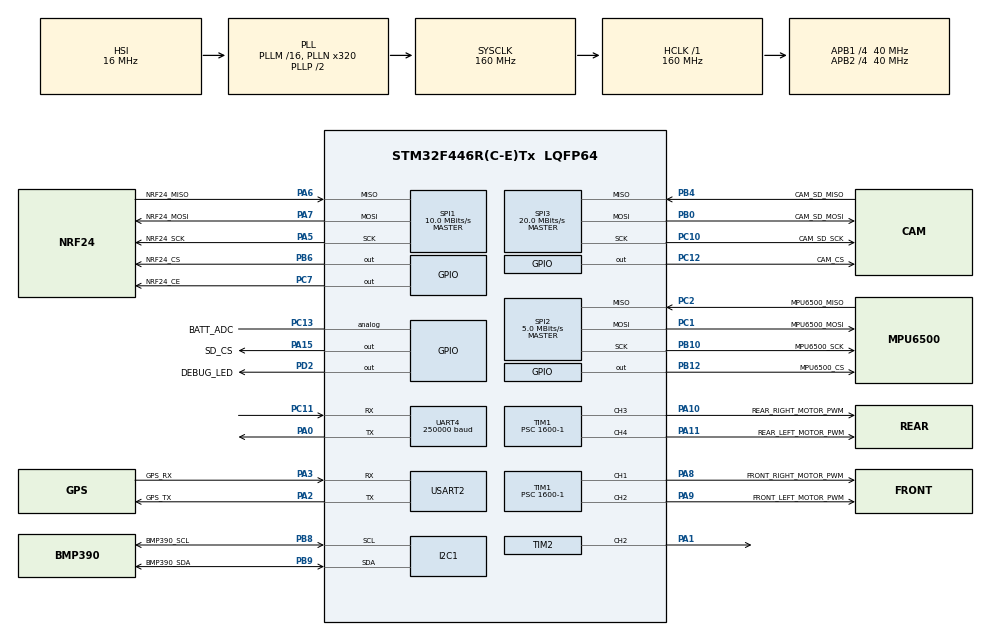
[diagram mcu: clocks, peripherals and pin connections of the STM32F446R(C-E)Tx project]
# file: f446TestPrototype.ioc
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I2C1.I2C_Mode=I2C_Standard
Mcu.Family=STM32F4
Mcu.Name=STM32F446R(C-E)Tx
Mcu.Package=LQFP64
NVIC.PriorityGroup=NVIC_PRIORITYGROUP_4
PA0-WKUP.Mode=Asynchronous
PA0-WKUP.Signal=UART4_TX
PA1.Signal=S_TIM2_CH2
PA10.GPIO_Label=REAR_RIGHT_MOTOR_PWM
PA10.Signal=S_TIM1_CH3
PA11.GPIO_Label=REAR_LEFT_MOTOR_PWM
PA11.Signal=S_TIM1_CH4
PA13.Mode=Serial_Wire
PA13.Signal=SYS_JTMS-SWDIO
PA14.Mode=Serial_Wire
PA14.Signal=SYS_JTCK-SWCLK
PA15.GPIO_Label=SD_CS
PA15.Signal=GPIO_Output
PA2.GPIO_Label=GPS_TX
PA2.Mode=Asynchronous
PA2.Signal=USART2_TX
PA3.GPIO_Label=GPS_RX
PA3.Mode=Asynchronous
PA3.Signal=USART2_RX
PA5.GPIO_Label=NRF24_SCK
PA5.Mode=Full_Duplex_Master
PA5.Signal=SPI1_SCK
PA6.GPIO_Label=NRF24_MISO
PA6.Mode=Full_Duplex_Master
PA6.Signal=SPI1_MISO
PA7.GPIO_Label=NRF24_MOSI
PA7.Mode=Full_Duplex_Master
PA7.Signal=SPI1_MOSI
PA8.GPIO_Label=FRONT_RIGHT_MOTOR_PWM
PA8.Signal=S_TIM1_CH1
PA9.GPIO_Label=FRONT_LEFT_MOTOR_PWM
PA9.Signal=S_TIM1_CH2
PB0.GPIO_Label=CAM_SD_MOSI
PB0.Mode=Full_Duplex_Master
PB0.Signal=SPI3_MOSI
PB10.GPIO_Label=MPU6500_SCK
PB10.Mode=Full_Duplex_Master
PB10.Signal=SPI2_SCK
PB12.GPIO_Label=MPU6500_CS
PB12.Signal=GPIO_Output
PB4.GPIO_Label=CAM_SD_MISO
PB4.Mode=Full_Duplex_Master
PB4.Signal=SPI3_MISO
PB6.GPIO_Label=NRF24_CS
PB6.Signal=GPIO_Output
PB8.GPIO_Label=BMP390_SCL
PB8.Mode=I2C
PB8.Signal=I2C1_SCL
PB9.GPIO_Label=BMP390_SDA
PB9.Mode=I2C
PB9.Signal=I2C1_SDA
PC1.GPIO_Label=MPU6500_MOSI
PC1.Mode=Full_Duplex_Master
PC1.Signal=SPI2_MOSI
PC10.GPIO_Label=CAM_SD_SCK
PC10.Mode=Full_Duplex_Master
PC10.Signal=SPI3_SCK
PC11.Mode=Asynchronous
PC11.Signal=UART4_RX
PC12.GPIO_Label=CAM_CS
PC12.Signal=GPIO_Output
PC13.GPIO_Label=BATT_ADC
PC13.Signal=GPIO_Analog
PC2.GPIO_Label=MPU6500_MISO
PC2.Mode=Full_Duplex_Master
PC2.Signal=SPI2_MISO
PC7.GPIO_Label=NRF24_CE
PC7.Signal=GPIO_Output
PD2.GPIO_Label=DEBUG_LED
PD2.Signal=GPIO_Output
PH0-OSC_IN.Mode=HSE-External-Oscillator
PH0-OSC_IN.Signal=RCC_OSC_IN
PH1-OSC_OUT.Mode=HSE-External-Oscillator
PH1-OSC_OUT.Signal=RCC_OSC_OUT
ProjectManager.HeapSize=0x200
ProjectManager.StackSize=0x400
ProjectManager.TargetToolchain=STM32CubeIDE
RCC.AHBFreq_Value=160000000
RCC.APB1CLKDivider=RCC_HCLK_DIV4
RCC.APB1Freq_Value=40000000
RCC.APB1TimFreq_Value=80000000
RCC.APB2CLKDivider=RCC_HCLK_DIV4
RCC.APB2Freq_Value=40000000
RCC.APB2TimFreq_Value=80000000
RCC.CortexFreq_Value=160000000
RCC.HCLKFreq_Value=160000000
RCC.HSE_VALUE=25000000
RCC.PLLN=320
RCC.SYSCLKFreq_VALUE=160000000
RCC.SYSCLKSource=RCC_SYSCLKSOURCE_PLLCLK
RCC.USBFreq_Value=160000000
RCC.VCOOutputFreq_Value=320000000
SH.S_TIM1_CH1.0=TIM1_CH1,PWM Generation1 CH1
SH.S_TIM1_CH2.0=TIM1_CH2,PWM Generation2 CH2
SH.S_TIM1_CH3.0=TIM1_CH3,PWM Generation3 CH3
SH.S_TIM1_CH4.0=TIM1_CH4,PWM Generation4 CH4
SH.S_TIM2_CH2.0=TIM2_CH2,Output Compare2 CH2
SPI1.BaudRatePrescaler=SPI_BAUDRATEPRESCALER_4
SPI1.CalculateBaudRate=10.0 MBits/s
SPI1.Direction=SPI_DIRECTION_2LINES
SPI1.Mode=SPI_MODE_MASTER
SPI1.VirtualType=VM_MASTER
SPI2.BaudRatePrescaler=SPI_BAUDRATEPRESCALER_8
SPI2.CalculateBaudRate=5.0 MBits/s
SPI2.Direction=SPI_DIRECTION_2LINES
SPI2.Mode=SPI_MODE_MASTER
SPI2.VirtualType=VM_MASTER
SPI3.CalculateBaudRate=20.0 MBits/s
SPI3.Direction=SPI_DIRECTION_2LINES
SPI3.Mode=SPI_MODE_MASTER
SPI3.VirtualType=VM_MASTER
STMicroelectronics.X-CUBE-ALGOBUILD.1.4.0.LibraryCcDSPOoLibraryJjDSPOoLibrary=true
TIM1.Channel-PWM\ Generation1\ CH1=TIM_CHANNEL_1
TIM1.Channel-PWM\ Generation2\ CH2=TIM_CHANNEL_2
TIM1.Channel-PWM\ Generation3\ CH3=TIM_CHANNEL_3
TIM1.Channel-PWM\ Generation4\ CH4=TIM_CHANNEL_4
TIM1.Period=1000-1
TIM1.Prescaler=1600-1
TIM2.AutoReloadPreload=TIM_AUTORELOAD_PRELOAD_ENABLE
TIM2.Channel-Output\ Compare2\ CH2=TIM_CHANNEL_2
TIM2.Prescaler=80-1
UART4.BaudRate=250000
UART4.VirtualMode=Asynchronous
USART2.VirtualMode=VM_ASYNC
VP_STMicroelectronics.X-CUBE-ALGOBUILD_VS_DSPOoLibraryJjLibrary_1.4.0_1.4.0.Mode=DSPOoLibraryJjLibrary
VP_TIM2_VS_ClockSourceINT.Mode=Internal
board=custom

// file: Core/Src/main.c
/* USER CODE BEGIN Header */
/**
  ******************************************************************************
  * @file           : main.c
  * @brief          : Main program body
  ******************************************************************************
  * @attention
  *
  * Copyright (c) 2024 STMicroelectronics.
  * All rights reserved.
  *
  * This software is licensed under terms that can be found in the LICENSE file
  * in the root directory of this software component.
  * If no LICENSE file comes with this software, it is provided AS-IS.
  *
  ******************************************************************************
  */
/* USER CODE END Header */
#include "main.h"

/* USER CODE BEGIN Includes */
#include "motorControl.h"
#include "nRF24l01.h"
#include "mpu6500.h"
#include "flightController.h"
#include "bmp390.h"
#include "movingAvgFilter.h"
#include "filter.h"
#include "simpleKalmanFilter.h"
#include "arm_math.h"
#include "stdbool.h"
/* USER CODE END Includes */

/* USER CODE BEGIN PD */
// TOGGLE TEST/FLIGHT MODE HERE
#define RUN_MODE FLIGHT
#define PRINT_DEBUG false
#define ANGLE_MAX 45
/* USER CODE END PD */

I2C_HandleTypeDef hi2c1;

SPI_HandleTypeDef hspi1;
SPI_HandleTypeDef hspi2;
SPI_HandleTypeDef hspi3;

TIM_HandleTypeDef htim1;
TIM_HandleTypeDef htim2;

UART_HandleTypeDef huart4;
UART_HandleTypeDef huart2;

void SystemClock_Config(void);
static void MX_GPIO_Init(void);
static void MX_TIM1_Init(void);
static void MX_SPI1_Init(void);
static void MX_UART4_Init(void);
static void MX_SPI2_Init(void);
static void MX_I2C1_Init(void);
static void MX_SPI3_Init(void);
static void MX_USART2_UART_Init(void);
static void MX_TIM2_Init(void);
/* USER CODE BEGIN PFP */
static void initializeIWDG();
static void refreshIWDG();
/* USER CODE END PFP */

/* USER CODE BEGIN 0 */
static BMP390 bmp;
static MPU6500 mpu;
static float altOffset;

static char buf[1000]; // buffer for printing chars
/****************/
/* USER CODE END 0 */

int main(void)
{

  /* USER CODE BEGIN 1 */

  /**
   * STUFF TODO:
   * - Move higher level functions like the angle kalman filter to the flight controller file.
   * - Make a flight controller struct? Would update all sensors on the flight controller and store the filtered angles/altitude, etc.
   */

  /* USER CODE END 1 */

  /* MCU Configuration--------------------------------------------------------*/

  /* Reset of all peripherals, Initializes the Flash interface and the Systick. */
  HAL_Init();

  /* Configure the system clock */
  SystemClock_Config();

  /* Initialize all configured peripherals */
  MX_GPIO_Init();
  MX_TIM1_Init();
  MX_SPI1_Init();
  MX_UART4_Init();
  MX_SPI2_Init();
  MX_I2C1_Init();
  MX_SPI3_Init();
  MX_USART2_UART_Init();
  MX_TIM2_Init();
  /* USER CODE BEGIN 2 */

  HAL_TIM_Base_Start(&htim2);

  uint8_t rxAddress[5] = {0xEE, 0xDD, 0xCC, 0xBB, 0xAA};
  uint8_t channelNum = 10;
  uint8_t rxPipe = 1;
  uint8_t rxData[8];

  nRF24Init();
  nRF24RxMode(rxAddress, channelNum);

  float desAngles[2] = {0, 0}; // desired angles
  float desAngleRates[3] = {0, 0, 0}; // for rate controller: desired angle rate (pitch, roll, yaw)
  float ctrlSignals[3] = {0, 0, 0}; // value from 0-20, output from pid controller (represents adjustments in pitch/roll/yaw directions to hit desired value)
  float rcThrottle = 0; // raw joystick value mapped to a desired vertical velocity
  float motorThrottle[4] = {50, 50, 50, 50}; // actual motor output, changed based on pitch, roll, yaw change from controller
  float verticalVelocityMotorAdjustment = 0;
  float vvAccumulator = 0;

  unsigned int errors = 0;

  const uint8_t altSamplesToAverage = 100;

  if (PRINT_DEBUG) {
    sprintf(buf, "Initializing sensors...\r\n");
    HAL_UART_Transmit(&huart4, (uint8_t*)buf, strlen(buf), HAL_MAX_DELAY);
  }

  errors += mpu6500Init(&mpu);
  flightControllerInit();
  initializeMotors();

  if (PRINT_DEBUG) {
    sprintf(buf, "MPU6500 initialized!\r\n");
    HAL_UART_Transmit(&huart4, (uint8_t*)buf, strlen(buf), HAL_MAX_DELAY);
  }

  errors += bmp390Init(&bmp);
  movingAvgFilter altFiltered;
  movingAvgFilterInit(&altFiltered, altSamplesToAverage);

  if (PRINT_DEBUG) {
    sprintf(buf, "BMP390 Initialized!\r\n");
    HAL_UART_Transmit(&huart4, (uint8_t*)buf, strlen(buf), HAL_MAX_DELAY);
  }

  // LPF
  BWLowPass* baroVVLPF = create_bw_low_pass_filter(4, 50, 5);

  // TODO put this stuff into a function
  // Fill altitude buffer before calculating offset
  for (int i = 0; i < altSamplesToAverage; i++) {
    errors += bmp390Update(&bmp);
    movingAvgFilterUpdate(&altFiltered, bmp.alt);
  }

  altOffset = movingAvgFilterUpdate(&altFiltered, bmp.alt);

  // Wait for buffer to fill with normalized data
  for (int i = 0; i < altSamplesToAverage; i++) {
    errors += bmp390Update(&bmp);
    movingAvgFilterUpdate(&altFiltered, bmp.alt - altOffset);
  }

  movingAvgFilter baroVVAvg;
  movingAvgFilterInit(&baroVVAvg, altSamplesToAverage);

  simpleKalmanFilter altitudeFilter;
  kalmanInit(&altitudeFilter, 0.1, 0.1, 0.1);

  uint32_t prevTime = htim2.Instance->CNT;
  float prevBaroAlt = 0;

  if (PRINT_DEBUG) {
    sprintf(buf, "Filters applied, starting loop...\r\n");
    HAL_UART_Transmit(&huart4, (uint8_t*)buf, strlen(buf), HAL_MAX_DELAY);
  }

  // warm up vertical velocity filter
  for (int i = 0; i < altSamplesToAverage; i++) {
    errors += bmp390Update(&bmp);
    errors += mpu6500Update(&mpu);
    kalmanUpdateEstimate(&altitudeFilter, bmp.alt - altOffset);

    prevBaroAlt = altitudeFilter.curEstimate;
  }

  // Start 125ms watchdog timerw
  initializeIWDG();
  /* USER CODE END 2 */

  /* Infinite loop */
  while (1)
  {

    /* USER CODE BEGIN 3 */
    while (errors > 0) {
      sprintf(buf, "ERRORS: %u\r\n", errors);
      HAL_UART_Transmit(&huart4, (uint8_t*)buf, strlen(buf), 100);
      HAL_GPIO_WritePin(DEBUG_LED_GPIO_Port, DEBUG_LED_Pin, 1);
      HAL_Delay(100);
      HAL_GPIO_WritePin(DEBUG_LED_GPIO_Port, DEBUG_LED_Pin, 0);
      HAL_Delay(100);
    }

    // Read sensor values and update structs
    errors += bmp390Update(&bmp);
    errors += mpu6500Update(&mpu);
    kalmanUpdateEstimate(&altitudeFilter, bmp.alt - altOffset);

    uint32_t curTime = htim2.Instance->CNT;
    float timeDiff = (float)(curTime - prevTime) / US_TO_S;
    float baroVerticalVelocity = (altitudeFilter.curEstimate - prevBaroAlt) / timeDiff;

    prevTime = curTime;
    prevBaroAlt = altitudeFilter.curEstimate;

    float lpfBaroVV = bw_low_pass(baroVVLPF, baroVerticalVelocity);

//    sprintf(buf, "averagedBaroVerticalVelocity:%f,accelVerticalVelocity:%f,calibratedVerticalVelocity:%f,baroVerticalVelocity:%f,compFilter:%f,emaFilter:%f,lpfBaroVV:%f\r\n", baroVVFiltered, mpu.verticalVelocity, mpu.verticalVelocity - accelVertVelocityOffset, baroVerticalVelocity, compFilterVal, emaFilterVV, lpfBaroVV);
//    sprintf(buf, "verticalVelocityMotorAdjustment: %d\r\n", verticalVelocityMotorAdjustment);
//    sprintf(buf, "motor1:%d\r\n", motorThrottle[0]);
//    HAL_UART_Transmit(&huart4, (uint8_t*)buf, strlen(buf), HAL_MAX_DELAY);

    switch (RUN_MODE) {
      case TEST: {
        HAL_GPIO_WritePin(DEBUG_LED_GPIO_Port, DEBUG_LED_Pin, 1);
        refreshIWDG();

        nRF24Receive(rxData);
        uint32_t xVal = (rxData[0] << 24 | rxData[1] << 16 | rxData[2] << 8 | rxData[3]);
//        rcThrottle = mapRCRaw(xVal);
        rcThrottle = mapPWM(xVal);

        sprintf(buf, "rcThrottle:%f,xVal:%lu,motors:[%f,%f,%f,%f]\r\n", rcThrottle, xVal, motorThrottle[0], motorThrottle[1], motorThrottle[2], motorThrottle[3]);
        HAL_UART_Transmit(&huart4, (uint8_t*)buf, strlen(buf), HAL_MAX_DELAY);

        angleController(&mpu, desAngles, desAngleRates, ctrlSignals);
        updateVerticalVelocityControl(lpfBaroVV, rcThrottle, &verticalVelocityMotorAdjustment);
        actuateMotors(motorThrottle, ctrlSignals, &vvAccumulator, verticalVelocityMotorAdjustment, rcThrottle);

        break;
      }

      case FLIGHT: {
        // Handle user input from remote controller
        if(isDataAvailable(rxPipe)) {
          HAL_GPIO_WritePin(DEBUG_LED_GPIO_Port, DEBUG_LED_Pin, 1);
          refreshIWDG();

          nRF24Receive(rxData);
          uint32_t xVal = (rxData[0] << 24 | rxData[1] << 16 | rxData[2] << 8 | rxData[3]);
          if (xVal > 4000) {
//            sprintf(buf, "FILTERED GARBAGE VALUE: %lu\r\n", xVal);
//            HAL_UART_Transmit(&huart4, (uint8_t*)buf, strlen(buf), HAL_MAX_DELAY);
            continue; // try to filter out random spikes
          }
//          rcThrottle = mapRCRaw(xVal);
          rcThrottle = mapPWM(xVal);

//          sprintf(buf, "rcThrottle:%f,xVal:%lu,motors:[%f,%f,%f,%f]\r\n", rcThrottle, xVal, motorThrottle[0], motorThrottle[1], motorThrottle[2], motorThrottle[3]);
//          sprintf(buf, "pitch:%f,roll:%f\r\n", mpu.pitch, mpu.roll);
//          HAL_UART_Transmit(&huart4, (uint8_t*)buf, strlen(buf), HAL_MAX_DELAY);

          angleController(&mpu, desAngles, desAngleRates, ctrlSignals);
          updateVerticalVelocityControl(lpfBaroVV, rcThrottle, &verticalVelocityMotorAdjustment);
          actuateMotors(motorThrottle, ctrlSignals, &vvAccumulator, verticalVelocityMotorAdjustment, rcThrottle);

          // Shut off all motors permanently if angle is too sharp
          if(fabsf(mpu.pitch) > ANGLE_MAX || fabsf(mpu.roll) > ANGLE_MAX) {
            setAllMotors(50);
            while (1);
          }
        }

        break;
      }

      default: {
        break;
      }
    }
  }

  /* USER CODE END 3 */
}

void SystemClock_Config(void)
{
  RCC_OscInitTypeDef RCC_OscInitStruct = {0};
  RCC_ClkInitTypeDef RCC_ClkInitStruct = {0};

  /** Configure the main internal regulator output voltage
  */
  __HAL_RCC_PWR_CLK_ENABLE();
  __HAL_PWR_VOLTAGESCALING_CONFIG(PWR_REGULATOR_VOLTAGE_SCALE1);

  /** Initializes the RCC Oscillators according to the specified parameters
  * in the RCC_OscInitTypeDef structure.
  */
  RCC_OscInitStruct.OscillatorType = RCC_OSCILLATORTYPE_HSI;
  RCC_OscInitStruct.HSIState = RCC_HSI_ON;
  RCC_OscInitStruct.HSICalibrationValue = RCC_HSICALIBRATION_DEFAULT;
  RCC_OscInitStruct.PLL.PLLState = RCC_PLL_ON;
  RCC_OscInitStruct.PLL.PLLSource = RCC_PLLSOURCE_HSI;
  RCC_OscInitStruct.PLL.PLLM = 16;
  RCC_OscInitStruct.PLL.PLLN = 320;
  RCC_OscInitStruct.PLL.PLLP = RCC_PLLP_DIV2;
  RCC_OscInitStruct.PLL.PLLQ = 2;
  RCC_OscInitStruct.PLL.PLLR = 2;
  if (HAL_RCC_OscConfig(&RCC_OscInitStruct) != HAL_OK)
  {
    Error_Handler();
  }

  /** Initializes the CPU, AHB and APB buses clocks
  */
  RCC_ClkInitStruct.ClockType = RCC_CLOCKTYPE_HCLK|RCC_CLOCKTYPE_SYSCLK
                              |RCC_CLOCKTYPE_PCLK1|RCC_CLOCKTYPE_PCLK2;
  RCC_ClkInitStruct.SYSCLKSource = RCC_SYSCLKSOURCE_PLLCLK;
  RCC_ClkInitStruct.AHBCLKDivider = RCC_SYSCLK_DIV1;
  RCC_ClkInitStruct.APB1CLKDivider = RCC_HCLK_DIV4;
  RCC_ClkInitStruct.APB2CLKDivider = RCC_HCLK_DIV4;

  if (HAL_RCC_ClockConfig(&RCC_ClkInitStruct, FLASH_LATENCY_5) != HAL_OK)
  {
    Error_Handler();
  }
}

static void MX_I2C1_Init(void)
{

  hi2c1.Instance = I2C1;
  hi2c1.Init.ClockSpeed = 100000;
  hi2c1.Init.DutyCycle = I2C_DUTYCYCLE_2;
  hi2c1.Init.OwnAddress1 = 0;
  hi2c1.Init.AddressingMode = I2C_ADDRESSINGMODE_7BIT;
  hi2c1.Init.DualAddressMode = I2C_DUALADDRESS_DISABLE;
  hi2c1.Init.OwnAddress2 = 0;
  hi2c1.Init.GeneralCallMode = I2C_GENERALCALL_DISABLE;
  hi2c1.Init.NoStretchMode = I2C_NOSTRETCH_DISABLE;
  if (HAL_I2C_Init(&hi2c1) != HAL_OK)
  {
    Error_Handler();
  }

}

static void MX_SPI1_Init(void)
{

  /* SPI1 parameter configuration*/
  hspi1.Instance = SPI1;
  hspi1.Init.Mode = SPI_MODE_MASTER;
  hspi1.Init.Direction = SPI_DIRECTION_2LINES;
  hspi1.Init.DataSize = SPI_DATASIZE_8BIT;
  hspi1.Init.CLKPolarity = SPI_POLARITY_LOW;
  hspi1.Init.CLKPhase = SPI_PHASE_1EDGE;
  hspi1.Init.NSS = SPI_NSS_SOFT;
  hspi1.Init.BaudRatePrescaler = SPI_BAUDRATEPRESCALER_4;
  hspi1.Init.FirstBit = SPI_FIRSTBIT_MSB;
  hspi1.Init.TIMode = SPI_TIMODE_DISABLE;
  hspi1.Init.CRCCalculation = SPI_CRCCALCULATION_DISABLE;
  hspi1.Init.CRCPolynomial = 10;
  if (HAL_SPI_Init(&hspi1) != HAL_OK)
  {
    Error_Handler();
  }

}

static void MX_SPI2_Init(void)
{

  /* SPI2 parameter configuration*/
  hspi2.Instance = SPI2;
  hspi2.Init.Mode = SPI_MODE_MASTER;
  hspi2.Init.Direction = SPI_DIRECTION_2LINES;
  hspi2.Init.DataSize = SPI_DATASIZE_8BIT;
  hspi2.Init.CLKPolarity = SPI_POLARITY_LOW;
  hspi2.Init.CLKPhase = SPI_PHASE_1EDGE;
  hspi2.Init.NSS = SPI_NSS_SOFT;
  hspi2.Init.BaudRatePrescaler = SPI_BAUDRATEPRESCALER_8;
  hspi2.Init.FirstBit = SPI_FIRSTBIT_MSB;
  hspi2.Init.TIMode = SPI_TIMODE_DISABLE;
  hspi2.Init.CRCCalculation = SPI_CRCCALCULATION_DISABLE;
  hspi2.Init.CRCPolynomial = 10;
  if (HAL_SPI_Init(&hspi2) != HAL_OK)
  {
    Error_Handler();
  }

}

static void MX_SPI3_Init(void)
{

  /* SPI3 parameter configuration*/
  hspi3.Instance = SPI3;
  hspi3.Init.Mode = SPI_MODE_MASTER;
  hspi3.Init.Direction = SPI_DIRECTION_2LINES;
  hspi3.Init.DataSize = SPI_DATASIZE_8BIT;
  hspi3.Init.CLKPolarity = SPI_POLARITY_LOW;
  hspi3.Init.CLKPhase = SPI_PHASE_1EDGE;
  hspi3.Init.NSS = SPI_NSS_SOFT;
  hspi3.Init.BaudRatePrescaler = SPI_BAUDRATEPRESCALER_2;
  hspi3.Init.FirstBit = SPI_FIRSTBIT_MSB;
  hspi3.Init.TIMode = SPI_TIMODE_DISABLE;
  hspi3.Init.CRCCalculation = SPI_CRCCALCULATION_DISABLE;
  hspi3.Init.CRCPolynomial = 10;
  if (HAL_SPI_Init(&hspi3) != HAL_OK)
  {
    Error_Handler();
  }

}

static void MX_TIM1_Init(void)
{

  TIM_MasterConfigTypeDef sMasterConfig = {0};
  TIM_OC_InitTypeDef sConfigOC = {0};
  TIM_BreakDeadTimeConfigTypeDef sBreakDeadTimeConfig = {0};

  htim1.Instance = TIM1;
  htim1.Init.Prescaler = 1600-1;
  htim1.Init.CounterMode = TIM_COUNTERMODE_UP;
  htim1.Init.Period = 1000-1;
  htim1.Init.ClockDivision = TIM_CLOCKDIVISION_DIV1;
  htim1.Init.RepetitionCounter = 0;
  htim1.Init.AutoReloadPreload = TIM_AUTORELOAD_PRELOAD_DISABLE;
  if (HAL_TIM_PWM_Init(&htim1) != HAL_OK)
  {
    Error_Handler();
  }
  sMasterConfig.MasterOutputTrigger = TIM_TRGO_RESET;
  sMasterConfig.MasterSlaveMode = TIM_MASTERSLAVEMODE_DISABLE;
  if (HAL_TIMEx_MasterConfigSynchronization(&htim1, &sMasterConfig) != HAL_OK)
  {
    Error_Handler();
  }
  sConfigOC.OCMode = TIM_OCMODE_PWM1;
  sConfigOC.Pulse = 0;
  sConfigOC.OCPolarity = TIM_OCPOLARITY_HIGH;
  sConfigOC.OCNPolarity = TIM_OCNPOLARITY_HIGH;
  sConfigOC.OCFastMode = TIM_OCFAST_DISABLE;
  sConfigOC.OCIdleState = TIM_OCIDLESTATE_RESET;
  sConfigOC.OCNIdleState = TIM_OCNIDLESTATE_RESET;
  if (HAL_TIM_PWM_ConfigChannel(&htim1, &sConfigOC, TIM_CHANNEL_1) != HAL_OK)
  {
    Error_Handler();
  }
  if (HAL_TIM_PWM_ConfigChannel(&htim1, &sConfigOC, TIM_CHANNEL_2) != HAL_OK)
  {
    Error_Handler();
  }
  if (HAL_TIM_PWM_ConfigChannel(&htim1, &sConfigOC, TIM_CHANNEL_3) != HAL_OK)
  {
    Error_Handler();
  }
  if (HAL_TIM_PWM_ConfigChannel(&htim1, &sConfigOC, TIM_CHANNEL_4) != HAL_OK)
  {
    Error_Handler();
  }
  sBreakDeadTimeConfig.OffStateRunMode = TIM_OSSR_DISABLE;
  sBreakDeadTimeConfig.OffStateIDLEMode = TIM_OSSI_DISABLE;
  sBreakDeadTimeConfig.LockLevel = TIM_LOCKLEVEL_OFF;
  sBreakDeadTimeConfig.DeadTime = 0;
  sBreakDeadTimeConfig.BreakState = TIM_BREAK_DISABLE;
  sBreakDeadTimeConfig.BreakPolarity = TIM_BREAKPOLARITY_HIGH;
  sBreakDeadTimeConfig.AutomaticOutput = TIM_AUTOMATICOUTPUT_DISABLE;
  if (HAL_TIMEx_ConfigBreakDeadTime(&htim1, &sBreakDeadTimeConfig) != HAL_OK)
  {
    Error_Handler();
  }
  HAL_TIM_MspPostInit(&htim1);

}

static void MX_TIM2_Init(void)
{

  TIM_ClockConfigTypeDef sClockSourceConfig = {0};
  TIM_MasterConfigTypeDef sMasterConfig = {0};
  TIM_OC_InitTypeDef sConfigOC = {0};

  htim2.Instance = TIM2;
  htim2.Init.Prescaler = 80-1;
  htim2.Init.CounterMode = TIM_COUNTERMODE_UP;
  htim2.Init.Period = 4294967295;
  htim2.Init.ClockDivision = TIM_CLOCKDIVISION_DIV1;
  htim2.Init.AutoReloadPreload = TIM_AUTORELOAD_PRELOAD_ENABLE;
  if (HAL_TIM_Base_Init(&htim2) != HAL_OK)
  {
    Error_Handler();
  }
  sClockSourceConfig.ClockSource = TIM_CLOCKSOURCE_INTERNAL;
  if (HAL_TIM_ConfigClockSource(&htim2, &sClockSourceConfig) != HAL_OK)
  {
    Error_Handler();
  }
  if (HAL_TIM_OC_Init(&htim2) != HAL_OK)
  {
    Error_Handler();
  }
  sMasterConfig.MasterOutputTrigger = TIM_TRGO_RESET;
  sMasterConfig.MasterSlaveMode = TIM_MASTERSLAVEMODE_DISABLE;
  if (HAL_TIMEx_MasterConfigSynchronization(&htim2, &sMasterConfig) != HAL_OK)
  {
    Error_Handler();
  }
  sConfigOC.OCMode = TIM_OCMODE_TIMING;
  sConfigOC.Pulse = 0;
  sConfigOC.OCPolarity = TIM_OCPOLARITY_HIGH;
  sConfigOC.OCFastMode = TIM_OCFAST_DISABLE;
  if (HAL_TIM_OC_ConfigChannel(&htim2, &sConfigOC, TIM_CHANNEL_2) != HAL_OK)
  {
    Error_Handler();
  }
  HAL_TIM_MspPostInit(&htim2);

}

static void MX_UART4_Init(void)
{

  huart4.Instance = UART4;
  huart4.Init.BaudRate = 250000;
  huart4.Init.WordLength = UART_WORDLENGTH_8B;
  huart4.Init.StopBits = UART_STOPBITS_1;
  huart4.Init.Parity = UART_PARITY_NONE;
  huart4.Init.Mode = UART_MODE_TX_RX;
  huart4.Init.HwFlowCtl = UART_HWCONTROL_NONE;
  huart4.Init.OverSampling = UART_OVERSAMPLING_16;
  if (HAL_UART_Init(&huart4) != HAL_OK)
  {
    Error_Handler();
  }

}

static void MX_USART2_UART_Init(void)
{

  huart2.Instance = USART2;
  huart2.Init.BaudRate = 115200;
  huart2.Init.WordLength = UART_WORDLENGTH_8B;
  huart2.Init.StopBits = UART_STOPBITS_1;
  huart2.Init.Parity = UART_PARITY_NONE;
  huart2.Init.Mode = UART_MODE_TX_RX;
  huart2.Init.HwFlowCtl = UART_HWCONTROL_NONE;
  huart2.Init.OverSampling = UART_OVERSAMPLING_16;
  if (HAL_UART_Init(&huart2) != HAL_OK)
  {
    Error_Handler();
  }

}

static void MX_GPIO_Init(void)
{
  GPIO_InitTypeDef GPIO_InitStruct = {0};

  /* GPIO Ports Clock Enable */
  __HAL_RCC_GPIOC_CLK_ENABLE();
  __HAL_RCC_GPIOH_CLK_ENABLE();
  __HAL_RCC_GPIOA_CLK_ENABLE();
  __HAL_RCC_GPIOB_CLK_ENABLE();
  __HAL_RCC_GPIOD_CLK_ENABLE();

  /*Configure GPIO pin Output Level */
  HAL_GPIO_WritePin(GPIOB, MPU6500_CS_Pin|NRF24_CS_Pin, GPIO_PIN_RESET);

  /*Configure GPIO pin Output Level */
  HAL_GPIO_WritePin(GPIOC, NRF24_CE_Pin|CAM_CS_Pin, GPIO_PIN_RESET);

  /*Configure GPIO pin Output Level */
  HAL_GPIO_WritePin(SD_CS_GPIO_Port, SD_CS_Pin, GPIO_PIN_RESET);

  /*Configure GPIO pin Output Level */
  HAL_GPIO_WritePin(DEBUG_LED_GPIO_Port, DEBUG_LED_Pin, GPIO_PIN_RESET);

  /*Configure GPIO pin : BATT_ADC_Pin */
  GPIO_InitStruct.Pin = BATT_ADC_Pin;
  GPIO_InitStruct.Mode = GPIO_MODE_ANALOG;
  GPIO_InitStruct.Pull = GPIO_NOPULL;
  HAL_GPIO_Init(BATT_ADC_GPIO_Port, &GPIO_InitStruct);

  /*Configure GPIO pins : MPU6500_CS_Pin NRF24_CS_Pin */
  GPIO_InitStruct.Pin = MPU6500_CS_Pin|NRF24_CS_Pin;
  GPIO_InitStruct.Mode = GPIO_MODE_OUTPUT_PP;
  GPIO_InitStruct.Pull = GPIO_NOPULL;
  GPIO_InitStruct.Speed = GPIO_SPEED_FREQ_LOW;
  HAL_GPIO_Init(GPIOB, &GPIO_InitStruct);

  /*Configure GPIO pins : NRF24_CE_Pin CAM_CS_Pin */
  GPIO_InitStruct.Pin = NRF24_CE_Pin|CAM_CS_Pin;
  GPIO_InitStruct.Mode = GPIO_MODE_OUTPUT_PP;
  GPIO_InitStruct.Pull = GPIO_NOPULL;
  GPIO_InitStruct.Speed = GPIO_SPEED_FREQ_LOW;
  HAL_GPIO_Init(GPIOC, &GPIO_InitStruct);

  /*Configure GPIO pin : SD_CS_Pin */
  GPIO_InitStruct.Pin = SD_CS_Pin;
  GPIO_InitStruct.Mode = GPIO_MODE_OUTPUT_PP;
  GPIO_InitStruct.Pull = GPIO_NOPULL;
  GPIO_InitStruct.Speed = GPIO_SPEED_FREQ_LOW;
  HAL_GPIO_Init(SD_CS_GPIO_Port, &GPIO_InitStruct);

  /*Configure GPIO pin : DEBUG_LED_Pin */
  GPIO_InitStruct.Pin = DEBUG_LED_Pin;
  GPIO_InitStruct.Mode = GPIO_MODE_OUTPUT_PP;
  GPIO_InitStruct.Pull = GPIO_NOPULL;
  GPIO_InitStruct.Speed = GPIO_SPEED_FREQ_LOW;
  HAL_GPIO_Init(DEBUG_LED_GPIO_Port, &GPIO_InitStruct);

}

/* USER CODE BEGIN 4 */
/**
 * I AM MANUALLY INITIALIZING THE IWDG HERE SO IT DOESN'T MESS THE PROGRAM UP WHEN THE CODE IS REGENERATED.
 */
static void initializeIWDG() {
    // Enable the IWDG by writing 0x0000 CCCC in the IWDG key register (IWDG_KR)
    IWDG->KR = 0x0000CCCC;

    // Enable register access by writing 0x0000 5555 in the IWDG key register (IWDG_KR)
    IWDG->KR = 0x00005555;

    // Write the prescaler by programming the IWDG prescaler register (IWDG_PR) from 0 to 7
    IWDG->PR = 0;

    // Write the IWDG reload register (IWDG_RLR)
    IWDG->RLR = 1000;

    // Wait for the registers to be updated (IWDG_SR = 0x0000 0000)
    while (IWDG->SR);

    // Refresh the counter value with IWDG_RLR (IWDG_KR = 0x0000 AAAA)
    IWDG->KR = 0x0000AAAA;
}

/**
 * Restarts the counter for the IWDG.
 * This function must be called in order for the IWDG to work properly.
 */
static void refreshIWDG() {
  IWDG->KR = 0x0000AAAA;
}
/* USER CODE END 4 */

void Error_Handler(void)
{
  __disable_irq();
  while (1)
  {
  }
}
